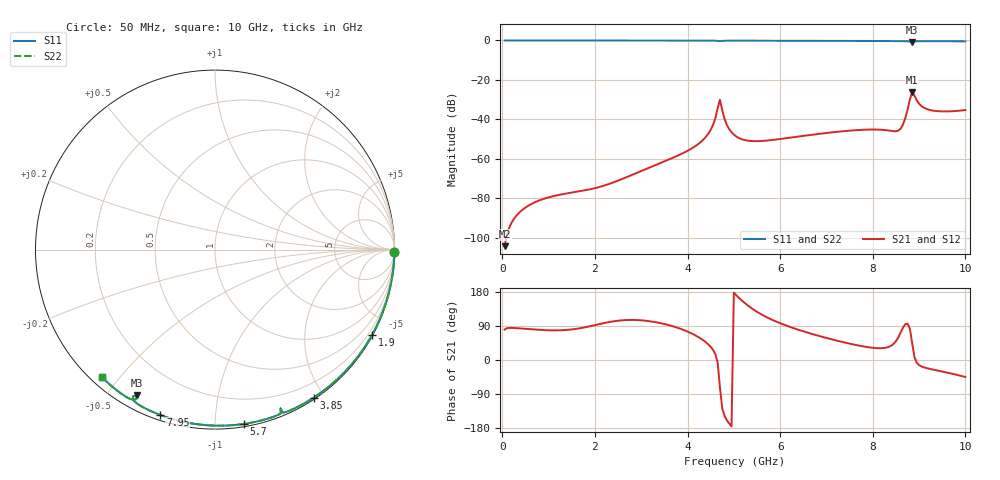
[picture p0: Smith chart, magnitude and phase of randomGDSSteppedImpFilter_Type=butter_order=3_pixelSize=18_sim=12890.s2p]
! freq	dB(S11)	phase(S11)	dB(S12)	phase(S12)
!  dB(S21)	phase(S21)	dB(S22)	phase(S22)
!S-par simulation data
#  GHz  S  DB  R 50
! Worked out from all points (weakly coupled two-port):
!   200 points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, 50 MHz to 10 GHz, reference 50 ohm
!   highest |S21| = -26.32 dB at 8.85 GHz (marker M1); lowest = -104.2 dB at 50 MHz (marker M2)
!   lowest |S11| = -0.7 dB at 8.85 GHz (marker M3), VSWR 23.78, Z = 2.85 - j29.8 ohm
!   |S11| at or under -10 dB: nowhere
!   |S22| runs from -0.7 to 0.0 dB; largest |S21 - S12| = 0
!   S11 on the Smith chart (normalised r, x): 50 MHz: open; 1.9 GHz: 0.03, -3.94; 3.85 GHz: 0.02, -1.87; 5.7 GHz: 0.02, -1.18; 7.95 GHz: 0.02, -0.72; 10 GHz: 0.03, -0.45
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0.05  -0.00 -0.8  -104.23 80.1  -104.23 80.1  -0.00 -0.8
0.9  -0.02 -13.6  -80.21 78.8  -80.21 78.8  -0.02 -13.6
1.75  -0.03 -26.2  -76.11 85.4  -76.11 85.4  -0.03 -26.2
1.9  -0.04 -28.4  -75.40 89.2  -75.40 89.2  -0.04 -28.4
3.4  -0.07 -50.0  -62.28 97.7  -62.28 97.7  -0.07 -50.0
3.85  -0.08 -56.3  -57.68 82.3  -57.68 82.3  -0.08 -56.3
4.2  -0.09 -61.1  -53.03 62.9  -53.03 62.9  -0.09 -61.1
4.45  -0.10 -64.6  -47.19 41.0  -47.19 41.0  -0.10 -64.6
4.6  -0.12 -67.0  -39.47 15.6  -39.47 15.6  -0.12 -67.0
4.7  -0.40 -67.5  -30.05 -72.4  -30.05 -72.4  -0.40 -67.5
4.85  -0.12 -69.3  -42.83 -159.0  -42.83 -159.0  -0.12 -69.3
5.05  -0.12 -72.1  -48.62 171.3  -48.62 171.3  -0.12 -72.1
5.7  -0.14 -80.6  -50.74 113.6  -50.74 113.6  -0.14 -80.6
6.7  -0.18 -93.2  -47.75 68.3  -47.75 68.3  -0.18 -93.2
7.95  -0.26 -108.3  -45.13 32.9  -45.13 32.9  -0.26 -108.3
8.35  -0.29 -113.1  -45.66 34.8  -45.66 34.8  -0.29 -113.1
8.6  -0.33 -116.2  -44.75 71.8  -44.75 71.8  -0.33 -116.2
8.7  -0.37 -117.7  -39.55 94.0  -39.55 94.0  -0.37 -117.7
8.85  -0.73 -118.3  -26.32 44.7  -26.32 44.7  -0.73 -118.3
9  -0.39 -119.5  -32.04 -13.4  -32.04 -13.4  -0.39 -119.5
9.2  -0.37 -122.2  -35.01 -22.6  -35.01 -22.6  -0.37 -122.2
10  -0.45 -131.7  -35.25 -44.9  -35.25 -44.9  -0.45 -131.7
